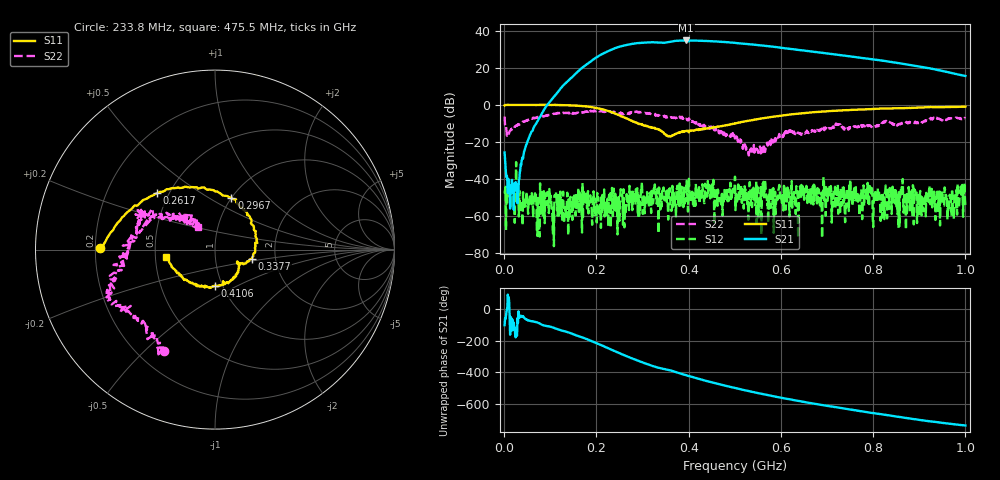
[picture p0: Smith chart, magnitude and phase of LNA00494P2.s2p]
! Created with skrf 1.9.0 (http://scikit-rf.org).
# Hz S RI R 50.0
!freq ReS11 ImS11 ReS21 ImS21 ReS12 ImS12 ReS22 ImS22
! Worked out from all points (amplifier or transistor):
!   1001 points, 1 MHz to 1 GHz, reference 50 ohm
!   highest |S21| = 34.9 dB at 394.6 MHz (marker M1)
!   |S21| within 3 dB of that: 256 MHz to 568.5 MHz (312.5 MHz wide, 75.8 % of centre)
!   unconditionally stable (mu >= 1): 217 MHz to 252.7 MHz; 252.8 MHz to 298.6 MHz; 298.7 MHz to end of sweep (the widest 3 of 43)
!   at 166.8 MHz: K = 0.68, MSG = 34.5 dB, |S12| = -49.3 dB
!   at 500.5 MHz: K = 1.05, MAG = 35.0 dB, |S12| = -38.9 dB
!   at 1 GHz: K = 6.35, MAG = 24.0 dB, |S12| = -54.4 dB
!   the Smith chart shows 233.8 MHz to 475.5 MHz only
!   S11 on the Smith chart (normalised r, x): 233.8 MHz: 0.22, +0.01; 261.7 MHz: 0.43, +0.34; 296.7 MHz: 1.00, +0.63; 337.7 MHz: 1.50, -0.16; 410.6 MHz: 0.92, -0.39; 475.5 MHz: 0.57, -0.05
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1000000  0.9743 -0.015  -0.00883 -0.0505  -0.0039 -0.000777  0.3635 0.3171
1.08892e8  0.5317 -0.8422  -0.8084 -1.508  0.000508 -0.00346  0.4312 -0.3748
1.67833e8  -0.2114 -0.9086  -9.834 -0.6443  -0.00103 -0.000407  0.0461 -0.6292
2.06794e8  -0.6496 -0.453  -16.15 14.81  -0.000993 -0.000748  -0.1528 -0.6507
2.33767e8  -0.6384 0.0104  -6.703 31.29  -0.0046 0.00326  -0.2856 -0.5653
2.61739e8  -0.3215 0.3148  15.99 37.8  -0.00145 0.00114  -0.4049 -0.395
2.96704e8  0.0915 0.2879  42.74 21.65  -0.00464 0.00246  -0.6018 -0.2298
3.16684e8  0.2133 0.1338  49.31 4.931  -0.00167 0.00189  -0.5633 -0.1285
3.34666e8  0.2121 -0.0275  48 -9.368  0.000293 0.000146  -0.5214 -0.0556
3.37663e8  0.2046 -0.051  47.23 -11.13  -8.17e-05 0.00404  -0.4903 -0.05
3.68632e8  0.133 -0.0853  44.31 -30.65  -0.0011 0.00227  -0.4273 0.1604
3.94606e8  0.0797 -0.1792  29.02 -47.75  0.000874 0.00258  -0.3723 0.1884
4.1059e8  0.00103 -0.2002  16.73 -53.07  0.00403 -0.000265  -0.2955 0.1617
4.41559e8  -0.1569 -0.1726  -6.643 -53.66  0.00538 0.00681  -0.2013 0.1537
4.75525e8  -0.2708 -0.0391  -27.21 -43.17  0.00235 0.000378  -0.0919 0.1246
5.005e8  -0.3042 0.0998  -36.85 -31.19  0.00975 0.00583  -0.063 0.1061
5.4046e8  -0.2418 0.3123  -41.72 -10.48  0.0057 -0.000171  -0.0616 0.00713
5.88412e8  -0.0584 0.4851  -35.78 9.645  0.00103 0.000377  -0.0845 -0.0594
6.67333e8  0.3188 0.5417  -15.03 23.39  -0.00216 -0.00353  -0.1927 -0.0779
7.53247e8  0.6285 0.3797  2.812 20.19  -0.00287 -0.00368  -0.2317 -0.0395
8.34166e8  0.7877 0.146  10.32 10.76  -0.000925 -0.00119  -0.347 -0.0488
1e9  0.8178 -0.3757  5.797 -1.873  -0.000635 0.0018  -0.3819 0.1985
